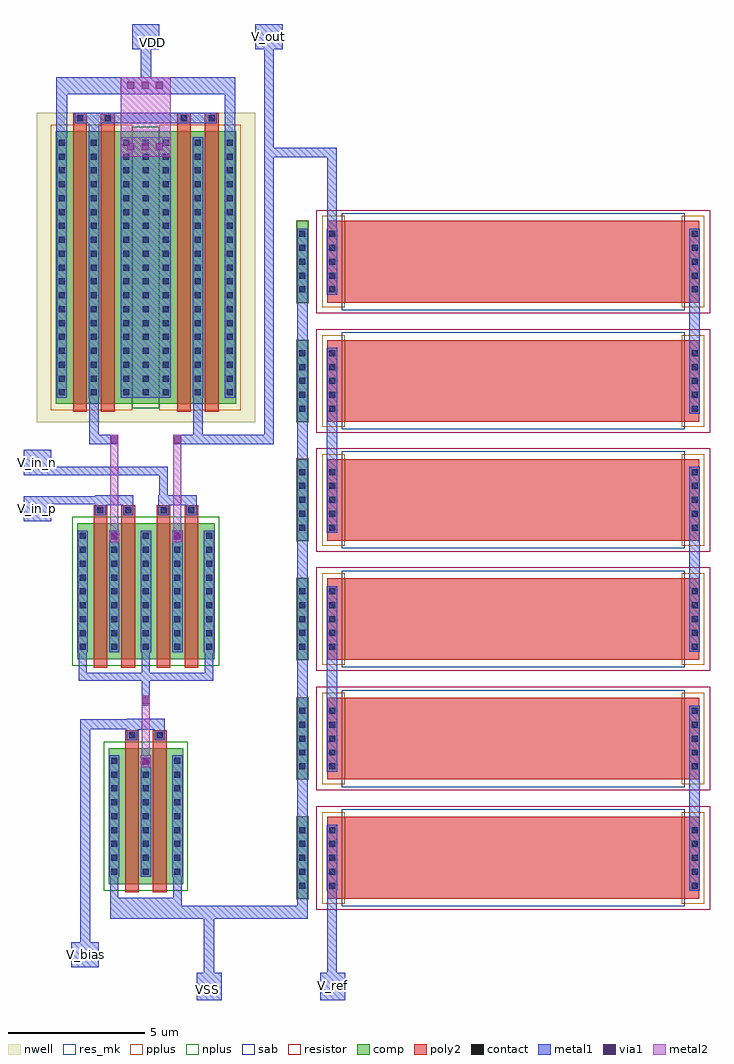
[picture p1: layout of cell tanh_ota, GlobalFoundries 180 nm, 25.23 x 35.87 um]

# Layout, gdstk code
from math import pi, radians
import gdstk
lib = gdstk.Library(unit=1e-6, precision=5e-09)
def R(c, l, rs):  # rectangles x0, y0, x1, y1
    for r in rs: c.add(gdstk.rectangle(r[:2], r[2:], *l))
def A(c, l, x, y, w, h, nx, ny, dx, dy):  # array of equal rectangles
    R(c, l, [(x+i*dx, y+j*dy, x+i*dx+w, y+j*dy+h) for i in range(nx) for j in range(ny)])
def P(c, l, *ps):  # polygons
    for p in ps: c.add(gdstk.Polygon(p, *l))
nwell = (21, 0)
comp = (22, 0)
poly2 = (30, 0)
pplus = (31, 0)
nplus = (32, 0)
contact = (33, 0)
metal1 = (34, 0)
via1 = (35, 0)
metal2 = (36, 0)
sab = (49, 0)
resistor = (62, 0)
res_mk = (110, 5)

nfet_3 = lib.new_cell('nfet$3')
R(nfet_3, comp, [(-0.42,0,0,5), (0,0,1.9,5), (1.9,0,2.32,5)])
R(nfet_3, poly2, [(0.19,-0.3,0.69,5.3), (1.21,-0.3,1.71,5.3), (0.19,5.3,0.69,5.66), (1.21,5.3,1.71,5.66)])
R(nfet_3, nplus, [(-0.59,-0.24,2.49,5.24)])
A(nfet_3, contact, -0.32, 0.35, 0.22, 0.22, 3, 9, 1.16, 0.51)
R(nfet_3, contact, [(0.33,5.37,0.55,5.59), (1.35,5.37,1.57,5.59)])
A(nfet_3, metal1, -0.4, 0.27, 0.38, 4.46, 3, 1, 1.16, 0)
R(nfet_3, metal1, [(0.25,5.29,0.63,5.67), (1.27,5.29,1.65,5.67)])

pfet = lib.new_cell('pfet')
R(pfet, nwell, [(-1.15,-0.69,3.78,10.69)])
R(pfet, comp, [(-0.46,0,0,10), (0,0,1.9,10), (1.9,0,2.36,10), (2.36,0,3.09,10)])
R(pfet, poly2, [(0.19,-0.3,0.69,10.3), (1.21,-0.3,1.71,10.3), (0.19,10.3,0.69,10.68), (1.21,10.3,1.71,10.68)])
R(pfet, pplus, [(-0.63,-0.24,2.36,10.24)])
R(pfet, nplus, [(2.36,-0.17,3.26,10.17)])
A(pfet, contact, -0.34, 0.3, 0.22, 0.22, 3, 19, 1.18, 0.51)
A(pfet, contact, 2.75, 0.3, 0.22, 0.22, 1, 19, 0, 0.51)
R(pfet, contact, [(0.33,10.38,0.55,10.6), (1.35,10.38,1.57,10.6)])
A(pfet, metal1, -0.42, 0.22, 0.38, 9.56, 3, 1, 1.18, 0)
R(pfet, metal1, [(2.67,0.22,3.05,9.78), (0.25,10.3,0.63,10.68), (1.27,10.3,1.65,10.68)])

ppolyf_u_high_rs_resisto = lib.new_cell('ppolyf_u_high_Rs_resistor$2')
R(ppolyf_u_high_rs_resisto, comp, [(-1.76,0,-1.34,3)])
R(ppolyf_u_high_rs_resisto, poly2, [(-0.64,0,13.04,3)])
R(ppolyf_u_high_rs_resisto, pplus, [(-0.82,-0.18,0,3.18), (12.4,-0.18,13.22,3.18), (-1.78,-0.02,-1.32,3.02)])
A(ppolyf_u_high_rs_resisto, contact, -1.66, 0.37, 0.22, 0.22, 1, 5, 0, 0.51)
A(ppolyf_u_high_rs_resisto, contact, -0.57, 0.37, 0.22, 0.22, 1, 5, 0, 0.51)
A(ppolyf_u_high_rs_resisto, contact, 12.75, 0.37, 0.22, 0.22, 1, 5, 0, 0.51)
R(ppolyf_u_high_rs_resisto, metal1, [(-1.74,0.29,-1.36,2.71), (-0.65,0.29,-0.27,2.71), (12.67,0.29,13.05,2.71)])
R(ppolyf_u_high_rs_resisto, sab, [(-0.1,-0.28,12.5,3.28)])
R(ppolyf_u_high_rs_resisto, resistor, [(-1.04,-0.4,13.44,3.4)])
R(ppolyf_u_high_rs_resisto, res_mk, [(0,0,12.4,3)])

tanh_ota = lib.new_cell('tanh_ota')
R(tanh_ota, metal1, [(5.35,-0.185,6.275,0.825), (9.89,-0.185,10.815,0.825), (0.75,1.02,1.76,1.945), (2.175,2.795,9.425,3.27), (9.045,3.27,9.425,28.155), (23.455,3.83,23.835,10.63), (10.135,8.21,10.515,15.025), (2.785,9.74,4.185,10.155), (23.455,12.605,23.835,19.405), (10.135,16.985,10.515,23.775), (-1.005,17.405,0.005,18.33), (1.625,18,3.025,18.36), (3.945,18,5.345,18.36), (-1.005,19.105,0.005,20.03), (23.455,21.355,23.835,28.155), (2.565,21.95,4.405,31.51), (1.385,31.51,1.765,32.03), (0.875,32.03,6.095,32.41), (2.975,34.75,3.985,35.675), (7.5,34.755,8.51,35.68)])
P(tanh_ota, metal1, [(0.195,31.51),(0.195,33.725),(6.775,33.725),(6.775,31.51),(6.375,31.51),(6.375,33.09),(0.595,33.09),(0.595,31.51)],
  [(3.335,10.62),(3.335,11.545),(1.015,11.545),(1.015,12.6),(1.315,12.6),(1.315,11.845),(3.335,11.845),(3.335,12.6),(3.635,12.6),(3.635,11.845),(5.655,11.845),(5.655,12.6),(5.955,12.6),(5.955,11.545),(3.635,11.545),(3.635,10.62)])
A(tanh_ota, via1, 2.805, 31.035, 0.26, 0.26, 3, 2, 0.52, 2.27)
R(tanh_ota, via1, [(3.36,8.465,3.62,8.725), (3.36,10.68,3.62,10.94), (2.195,16.735,2.455,16.995), (4.515,16.735,4.775,16.995), (2.195,20.27,2.455,20.53), (4.515,20.27,4.775,20.53)])
P(tanh_ota, via1, [(3.53,8.56),(3.53,8.56),(3.53,8.56),(3.53,8.56)],
  [(2.365,16.83),(2.365,16.83),(2.365,16.83),(2.365,16.83)],
  [(4.685,16.83),(4.685,16.83),(4.685,16.83),(4.685,16.83)])
R(tanh_ota, metal2, [(3.295,8.37,3.675,8.8), (2.13,16.64,2.51,17.07), (4.45,16.64,4.83,17.07), (2.565,30.795,4.405,33.725)])
tanh_ota.add(gdstk.FlexPath([(1.255,1.945),(1.255,9.95),(2.785,9.95)], 0.38, ends="flush", simple_path=True, layer=34, datatype=0))  # metal1
tanh_ota.add(gdstk.FlexPath([(3.485,33.725),(3.485,34.755)], 0.38, ends="flush", simple_path=True, layer=34, datatype=0))  # metal1
tanh_ota.add(gdstk.FlexPath([(5.57,20.415),(8.005,20.415),(8.005,35.005)], 0.35, ends="flush", simple_path=True, layer=34, datatype=0))  # metal1
tanh_ota.add(gdstk.FlexPath([(5.8,2.795),(5.8,0.64)], 0.38, ends="flush", simple_path=True, layer=34, datatype=0))  # metal1
tanh_ota.add(gdstk.FlexPath([(10.325,3.83),(10.325,0.67)], 0.35, ends="flush", simple_path=True, layer=34, datatype=0))  # metal1
tanh_ota.add(gdstk.FlexPath([(8.18,30.955),(10.325,30.955),(10.325,28.155)], 0.35, ends="flush", simple_path=True, layer=34, datatype=0))  # metal1
tanh_ota.add(gdstk.FlexPath([(5.395,21.95),(5.395,20.415),(4.49,20.415)], 0.35, ends="flush", simple_path=True, layer=34, datatype=0))  # metal1
tanh_ota.add(gdstk.FlexPath([(1.575,21.95),(1.575,20.415),(2.47,20.415),(2.47,20.415)], 0.35, ends="flush", simple_path=True, layer=34, datatype=0))  # metal1
tanh_ota.add(gdstk.FlexPath([(4.135,18.36),(4.135,19.255),(0.005,19.255)], 0.3, ends="flush", simple_path=True, layer=34, datatype=0))  # metal1
tanh_ota.add(gdstk.FlexPath([(2.325,4.34),(2.325,3.42),(4.645,3.42),(4.645,4.34),(4.645,4.34)], 0.3, ends="flush", simple_path=True, layer=34, datatype=0))  # metal1
tanh_ota.add(gdstk.FlexPath([(1.625,18.18),(0,18.18)], 0.3, ends="flush", simple_path=True, layer=34, datatype=0))  # metal1
tanh_ota.add(gdstk.FlexPath([(2.32,17.07),(2.32,19.27),(2.32,20.59)], 0.3, ends="flush", simple_path=True, layer=36, datatype=0))  # metal2
tanh_ota.add(gdstk.FlexPath([(4.64,17.07),(4.64,19.27),(4.64,20.59)], 0.3, ends="flush", simple_path=True, layer=36, datatype=0))  # metal2
tanh_ota.add(gdstk.FlexPath([(3.485,8.8),(3.485,11),(3.485,11)], 0.3, ends="flush", simple_path=True, layer=36, datatype=0))  # metal2
tanh_ota.add(gdstk.Reference(nfet_3, (1.375,12.33)))
tanh_ota.add(gdstk.Reference(nfet_3, (3.695,12.33)))
tanh_ota.add(gdstk.Reference(nfet_3, (2.535,4.07)))
tanh_ota.add(gdstk.Reference(pfet, (6.345,21.73), rotation=pi, x_reflection=True))
tanh_ota.add(gdstk.Reference(pfet, (0.625,21.73)))
tanh_ota.add(gdstk.Reference(ppolyf_u_high_rs_resisto, (10.785,3.54)))
tanh_ota.add(gdstk.Reference(ppolyf_u_high_rs_resisto, (10.785,7.92)))
tanh_ota.add(gdstk.Reference(ppolyf_u_high_rs_resisto, (10.785,12.315)))
tanh_ota.add(gdstk.Reference(ppolyf_u_high_rs_resisto, (10.785,16.695)))
tanh_ota.add(gdstk.Reference(ppolyf_u_high_rs_resisto, (10.785,21.065)))
tanh_ota.add(gdstk.Reference(ppolyf_u_high_rs_resisto, (10.785,25.445)))
tanh_ota.add(gdstk.Label('V_bias', (1.255,1.48), layer=34, texttype=10))
tanh_ota.add(gdstk.Label('VDD', (3.715,35.015), layer=34, texttype=10))
tanh_ota.add(gdstk.Label('V_out', (8.005,35.215), layer=34, texttype=10))
tanh_ota.add(gdstk.Label('VSS', (5.735,0.205), layer=34, texttype=10))
tanh_ota.add(gdstk.Label('V_ref', (10.36,0.355), layer=34, texttype=10))
tanh_ota.add(gdstk.Label('V_in_p', (-0.5,17.865), layer=34, texttype=10))
tanh_ota.add(gdstk.Label('V_in_n', (-0.5,19.565), layer=34, texttype=10))

lib.write_gds('tanh_ota.gds')
